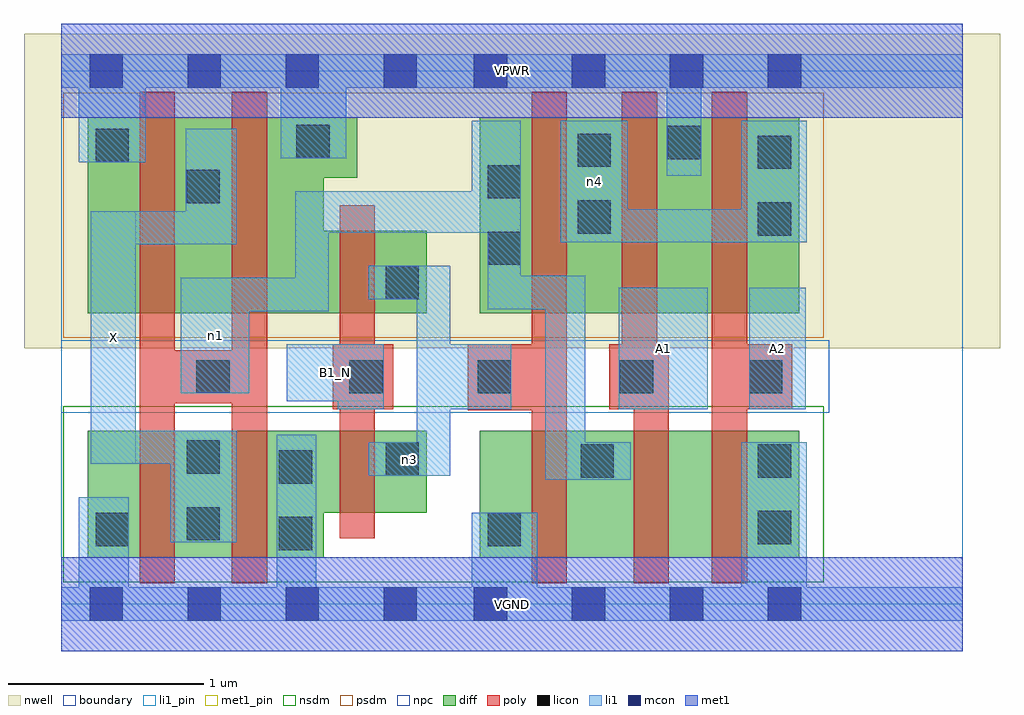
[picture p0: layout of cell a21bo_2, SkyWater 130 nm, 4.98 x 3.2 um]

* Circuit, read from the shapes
.subckt a21bo_2 A1 A2 B1_N VGND VPWR X n1 n3 n4
XM1 X n1 VGND VSUBS sky130_fd_pr__nfet_01v8 w=0.65 l=0.18 m=2
XM2 n3 B1_N VGND VSUBS sky130_fd_pr__nfet_01v8 w=0.42 l=0.18
XM3 n1 n3 VGND VSUBS sky130_fd_pr__nfet_01v8 w=0.65 l=0.18
XM4 n2 A1 n1 VSUBS sky130_fd_pr__nfet_01v8 w=0.65 l=0.18
XM5 VGND A2 n2 VSUBS sky130_fd_pr__nfet_01v8 w=0.65 l=0.18
XM6 X n1 VPWR n5 sky130_fd_pr__pfet_01v8 w=1 l=0.18 m=2
XM7 n3 B1_N VPWR n5 sky130_fd_pr__pfet_01v8 w=0.42 l=0.18
XM8 n4 n3 n1 n5 sky130_fd_pr__pfet_01v8 w=1 l=0.18
XM9 VPWR A1 n4 n5 sky130_fd_pr__pfet_01v8 w=1 l=0.18
XM10 n4 A2 VPWR n5 sky130_fd_pr__pfet_01v8 w=1 l=0.18
.ends

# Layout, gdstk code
import gdstk
lib = gdstk.Library(unit=1e-6, precision=1e-09)
def R(c, l, rs):  # rectangles x0, y0, x1, y1
    for r in rs: c.add(gdstk.rectangle(r[:2], r[2:], *l))
def A(c, l, x, y, w, h, nx, ny, dx, dy):  # array of equal rectangles
    R(c, l, [(x+i*dx, y+j*dy, x+i*dx+w, y+j*dy+h) for i in range(nx) for j in range(ny)])
nwell = (64, 20)
diff = (65, 20)
poly = (66, 20)
licon = (66, 44)
li1_pin = (67, 16)
li1 = (67, 20)
mcon = (67, 44)
met1_pin = (68, 16)
met1 = (68, 20)
nsdm = (93, 44)
psdm = (94, 20)
npc = (95, 20)
boundary = (235, 4)

a21bo_2 = lib.new_cell('a21bo_2')
R(a21bo_2, nwell, [(-0.19,1.305,4.79,2.91), (0,1.305,4.6,2.91)])
R(a21bo_2, diff, [(0.135,0.235,1.34,0.885), (2.135,0.235,3.765,0.885), (0.135,0.465,1.865,0.885), (0.135,1.485,1.865,1.905), (0.135,1.485,1.34,2.485), (2.135,1.485,3.765,2.485), (0.135,2.175,1.51,2.485)])
R(a21bo_2, poly, [(0.4,0.105,0.58,2.615), (0.87,0.105,1.05,2.615), (2.4,0.105,2.58,2.615), (2.92,0.105,3.1,1.325), (3.32,0.105,3.5,2.615), (1.42,0.335,1.6,2.035), (2.075,0.99,2.58,1.325), (1.385,0.995,1.695,1.325), (2.795,0.995,3.1,1.325), (2.86,0.995,3.04,2.615), (3.32,0.995,3.73,1.325), (0.4,1.025,1.05,1.295)])
R(a21bo_2, licon, [(1.11,0.275,1.28,0.445), (0.175,0.295,0.345,0.465), (2.175,0.295,2.345,0.465), (3.555,0.305,3.725,0.475), (0.64,0.325,0.81,0.495), (1.11,0.615,1.28,0.785), (2.65,0.645,2.82,0.815), (3.555,0.645,3.725,0.815), (1.655,0.655,1.825,0.825), (0.64,0.665,0.81,0.835), (0.69,1.075,0.86,1.245), (1.47,1.075,1.64,1.245), (2.125,1.075,2.295,1.245), (2.85,1.075,3.02,1.245), (3.51,1.075,3.68,1.245), (1.655,1.555,1.825,1.725), (2.175,1.73,2.345,1.9), (3.555,1.88,3.725,2.05), (2.635,1.89,2.805,2.06), (0.64,2.045,0.81,2.215), (2.175,2.07,2.345,2.24), (3.555,2.22,3.725,2.39), (2.635,2.23,2.805,2.4), (0.175,2.255,0.345,2.425), (3.095,2.27,3.265,2.44), (1.2,2.275,1.37,2.445)])
R(a21bo_2, li1_pin, [(0.15,0.715,0.38,2.005), (2.845,0.995,3.3,1.615), (3.51,0.995,3.8,1.615), (1.15,1.035,1.645,1.325)])
R(a21bo_2, li1, [(0,-0.085,4.6,0.085), (0.09,-0.085,0.345,0.545), (1.1,-0.085,1.3,0.865), (2.095,-0.085,2.43,0.465), (3.47,-0.085,3.805,0.825), (0.555,0.315,0.895,0.885), (2.47,0.635,2.675,1.675), (2.47,0.635,2.905,0.825), (1.57,0.655,1.985,0.825), (1.815,0.655,1.985,1.725), (0.15,0.715,0.38,2.005), (0.15,0.715,0.895,0.885), (1.41,0.995,1.645,1.325), (1.815,0.995,2.295,1.325), (2.845,0.995,3.3,1.615), (3.51,0.995,3.8,1.615), (1.15,1.035,1.645,1.325), (0.61,1.075,0.96,1.665), (0.61,1.495,1.365,1.665), (1.195,1.495,1.365,2.105), (2.175,1.505,2.345,2.465), (2.175,1.505,2.675,1.675), (1.57,1.555,1.985,1.725), (0.15,1.835,0.895,2.005), (0.635,1.835,0.895,2.425), (2.55,1.845,2.89,2.465), (2.55,1.845,3.805,2.015), (3.47,1.845,3.805,2.465), (1.195,1.895,2.345,2.105), (2.095,1.895,2.345,2.465), (3.09,2.185,3.265,2.805), (0.09,2.255,0.43,2.805), (1.12,2.275,1.455,2.805), (0,2.635,4.6,2.805)])
A(a21bo_2, mcon, 0.145, -0.085, 0.17, 0.17, 4, 2, 0.5, 2.72)
A(a21bo_2, mcon, 2.105, -0.085, 0.17, 0.17, 4, 2, 0.5, 2.72)
R(a21bo_2, met1_pin, [(0,-0.24,4.6,0.24), (0,2.48,4.6,2.96)])
R(a21bo_2, met1, [(0,-0.24,4.6,0.24), (0,2.48,4.6,2.96)])
R(a21bo_2, nsdm, [(0.01,0.11,3.89,1.01)])
R(a21bo_2, psdm, [(0.01,1.36,3.89,2.61)])
R(a21bo_2, npc, [(0,0.975,3.92,1.345)])
R(a21bo_2, boundary, [(0,0,4.6,2.72)])
a21bo_2.add(gdstk.Label('A1', (3.072,1.305), layer=67, texttype=5))
a21bo_2.add(gdstk.Label('A2', (3.655,1.305), layer=67, texttype=5))
a21bo_2.add(gdstk.Label('B1_N', (1.397,1.18), layer=67, texttype=5))
a21bo_2.add(gdstk.Label('X', (0.265,1.36), layer=67, texttype=5))
a21bo_2.add(gdstk.Label('n3', (1.777,0.74), layer=67, texttype=5))
a21bo_2.add(gdstk.Label('n1', (0.785,1.37), layer=67, texttype=5))
a21bo_2.add(gdstk.Label('n4', (2.72,2.155), layer=67, texttype=5))
a21bo_2.add(gdstk.Label('VPWR', (2.3,2.72), layer=68, texttype=5))
a21bo_2.add(gdstk.Label('VGND', (2.3,0), layer=68, texttype=5))
a21bo_2.add(gdstk.Label('A1', (3.072,1.305), layer=67, texttype=16))
a21bo_2.add(gdstk.Label('A2', (3.655,1.305), layer=67, texttype=16))
a21bo_2.add(gdstk.Label('B1_N', (1.397,1.18), layer=67, texttype=16))
a21bo_2.add(gdstk.Label('X', (0.265,1.36), layer=67, texttype=16))
a21bo_2.add(gdstk.Label('VPWR', (2.3,2.72), layer=68, texttype=16))
a21bo_2.add(gdstk.Label('VGND', (2.3,0), layer=68, texttype=16))

lib.write_gds('a21bo_2.gds')
